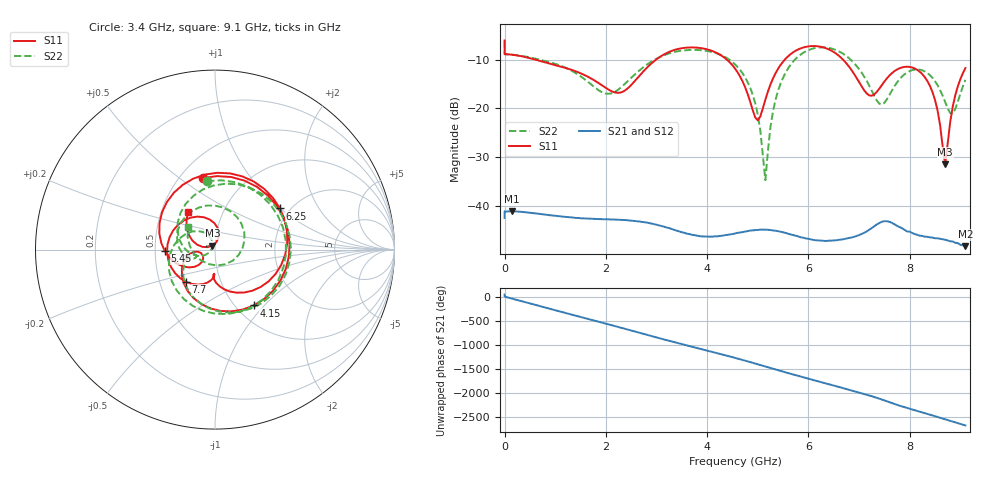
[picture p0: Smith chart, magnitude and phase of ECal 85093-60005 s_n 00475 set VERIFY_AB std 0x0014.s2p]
!Created with skrf (http://scikit-rf.org).
# Hz S RI R 50.0
!freq ReS11 ImS11 ReS21 ImS21 ReS12 ImS12 ReS22 ImS22
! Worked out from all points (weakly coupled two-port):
!   252 points, 30 kHz to 9.1 GHz, reference 50 ohm
!   highest |S21| = -41.12 dB at 152 MHz (marker M1); lowest = -48.3 dB at 9.1 GHz (marker M2)
!   lowest |S11| = -31.5 dB at 8.7 GHz (marker M3), VSWR 1.05, Z = 48.6 + j2.21 ohm
!   |S11| at or under -10 dB: 610.8 MHz to 2.991 GHz (2.38 GHz wide, 132 % of centre); 4.389 GHz to 5.534 GHz (1.145 GHz wide, 23.1 % of centre); 6.683 GHz to end of sweep
!   |S22| runs from -34.7 to -6.1 dB; largest |S21 - S12| = 0.00011
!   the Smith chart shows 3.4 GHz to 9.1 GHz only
!   S11 on the Smith chart (normalised r, x): 3.4 GHz: 0.65, +0.62; 4.15 GHz: 1.21, -0.88; 5.45 GHz: 0.56, -0.01; 6.25 GHz: 1.78, +1.00; 7.7 GHz: 0.68, -0.26; 9.1 GHz: 0.68, +0.31
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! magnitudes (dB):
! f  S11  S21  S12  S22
! 30 kHz  -6.1  -42.5  -42.5  -6.1
! 152 MHz  -9.0  -41.1  -41.1  -9.0
! 1.55 GHz  -13.0  -42.6  -42.6  -13.8
! 2.3 GHz  -16.7  -42.9  -42.9  -15.7
! 3.05 GHz  -9.6  -44.0  -44.0  -9.5
! 3.4 GHz  -7.9  -45.1  -45.1  -8.3
! 4.15 GHz  -8.4  -46.3  -46.3  -8.6
! 4.6 GHz  -12.6  -45.6  -45.6  -11.5
! 4.95 GHz  -21.9  -45.0  -45.0  -19.0
! 5.15 GHz  -18.2  -44.9  -44.9  -34.7
! 5.25 GHz  -15.1  -45.0  -45.0  -23.9
! 5.45 GHz  -11.1  -45.3  -45.4  -14.9
! 6.1 GHz  -7.2  -47.0  -47.0  -7.7
! 6.25 GHz  -7.4  -47.2  -47.2  -7.5
! 7.2 GHz  -17.3  -44.9  -44.9  -15.3
! 7.6 GHz  -13.3  -43.3  -43.3  -17.2
! 7.7 GHz  -12.3  -43.8  -43.8  -15.4
! 8.35 GHz  -14.4  -46.4  -46.4  -12.8
! 8.55 GHz  -20.4  -46.7  -46.7  -15.2
! 8.7 GHz  -31.5  -47.0  -47.0  -18.7
! 8.85 GHz  -19.6  -47.3  -47.4  -21.1
! 9.1 GHz  -11.7  -48.3  -48.3  -14.2
